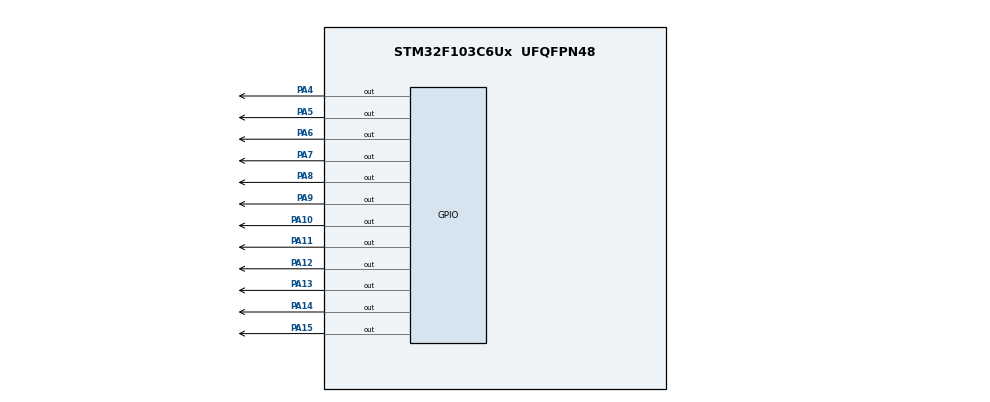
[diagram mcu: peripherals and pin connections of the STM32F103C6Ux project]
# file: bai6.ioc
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Mcu.Family=STM32F1
Mcu.Name=STM32F103C6Ux
Mcu.Package=UFQFPN48
NVIC.PriorityGroup=NVIC_PRIORITYGROUP_4
PA10.Signal=GPIO_Output
PA11.Signal=GPIO_Output
PA12.Signal=GPIO_Output
PA13.Signal=GPIO_Output
PA14.Signal=GPIO_Output
PA15.Signal=GPIO_Output
PA4.Signal=GPIO_Output
PA5.Signal=GPIO_Output
PA6.Signal=GPIO_Output
PA7.Signal=GPIO_Output
PA8.Signal=GPIO_Output
PA9.Signal=GPIO_Output
ProjectManager.HeapSize=0x200
ProjectManager.StackSize=0x400
ProjectManager.TargetToolchain=STM32CubeIDE
RCC.APB1Freq_Value=8000000
RCC.APB2Freq_Value=8000000
VP_SYS_VS_ND.Mode=No_Debug
board=custom

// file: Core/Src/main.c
/* USER CODE BEGIN Header */
/**
  ******************************************************************************
  * @file           : main.c
  * @brief          : Main program body
  ******************************************************************************
  * @attention
  *
  * <h2><center>&copy; Copyright (c) 2024 STMicroelectronics.
  * All rights reserved.</center></h2>
  *
  * This software component is licensed by ST under BSD 3-Clause license,
  * the "License"; You may not use this file except in compliance with the
  * License. You may obtain a copy of the License at:
  *                        opensource.org/licenses/BSD-3-Clause
  *
  ******************************************************************************
  */
/* USER CODE END Header */
#include "main.h"

void SystemClock_Config(void);
static void MX_GPIO_Init(void);

int main(void)
{

  /* MCU Configuration--------------------------------------------------------*/

  /* Reset of all peripherals, Initializes the Flash interface and the Systick. */
  HAL_Init();

  /* Configure the system clock */
  SystemClock_Config();

  /* Initialize all configured peripherals */
  MX_GPIO_Init();

  /* Infinite loop */
  /* USER CODE BEGIN WHILE */
  void clearNumberOnClock(int num)
   {

 	  	  if(num == 0)
 	  	  {

 	  		      HAL_GPIO_WritePin(GPIOA, GPIO_PIN_4, GPIO_PIN_RESET);
 	  	  }
 	  	  if(num == 1)
 	  		  {

 	  		      HAL_GPIO_WritePin(GPIOA, GPIO_PIN_5, GPIO_PIN_RESET);
 	  		  }
 	  	  if(num == 2)
 	  		  {

 	  		      HAL_GPIO_WritePin(GPIOA, GPIO_PIN_6, GPIO_PIN_RESET);
 	  		  }
 	  	  if(num == 3)
 	  		  {

 	  		      HAL_GPIO_WritePin(GPIOA, GPIO_PIN_7, GPIO_PIN_RESET);
 	  		  }
 	  	  if(num == 4)
 	  		  {

 	  		      HAL_GPIO_WritePin(GPIOA, GPIO_PIN_8, GPIO_PIN_RESET);
 	  		  }
 	  	  if(num == 5)
 	  		  {

 	  		      HAL_GPIO_WritePin(GPIOA, GPIO_PIN_9, GPIO_PIN_RESET);
 	  		  }
 	  	  if(num == 6)
 	  		  {

 	  		      HAL_GPIO_WritePin(GPIOA, GPIO_PIN_10, GPIO_PIN_RESET);
 	  		  }
 	  	  if(num == 7)
 	  		  {

 	  		      HAL_GPIO_WritePin(GPIOA, GPIO_PIN_11, GPIO_PIN_RESET);
 	  		  }
 	  	  if(num == 8)
 	  		  {

 	  		      HAL_GPIO_WritePin(GPIOA, GPIO_PIN_12, GPIO_PIN_RESET);
 	  		  }
 	  	  if(num == 9)
 	  		  {

 	  		      HAL_GPIO_WritePin(GPIOA, GPIO_PIN_13, GPIO_PIN_RESET);
 	  		  }
 	  	  if(num == 10)
 	  		  {

 	  		      HAL_GPIO_WritePin(GPIOA, GPIO_PIN_14, GPIO_PIN_RESET);
 	  		  }
 	  	  if(num == 11)
 	  		  {

 	  		      HAL_GPIO_WritePin(GPIOA, GPIO_PIN_15, GPIO_PIN_RESET);
 	  		  }

 	    }
  void setNumberOnClock(int num)
    {

  	  	  if(num == 0)
  	  	  {
  	  		HAL_GPIO_WritePin(GPIOA, GPIO_PIN_4, GPIO_PIN_SET);

  	  	  }
  	  	  if(num == 1)
  	  		  {
  	  		 HAL_GPIO_WritePin(GPIOA, GPIO_PIN_5, GPIO_PIN_SET);

  	  		  }
  	  	  if(num == 2)
  	  		  {
  	  		  HAL_GPIO_WritePin(GPIOA, GPIO_PIN_6, GPIO_PIN_SET);

  	  		  }
  	  	  if(num == 3)
  	  		  {
  	  		HAL_GPIO_WritePin(GPIOA, GPIO_PIN_7, GPIO_PIN_SET);

  	  		  }
  	  	  if(num == 4)
  	  		  {
  	  		  HAL_GPIO_WritePin(GPIOA, GPIO_PIN_8, GPIO_PIN_SET);

  	  		  }
  	  	  if(num == 5)
  	  		  {
  	  		 HAL_GPIO_WritePin(GPIOA, GPIO_PIN_9, GPIO_PIN_SET);

  	  		  }
  	  	  if(num == 6)
  	  		  {
  	  		   HAL_GPIO_WritePin(GPIOA, GPIO_PIN_10, GPIO_PIN_SET);

  	  		  }
  	  	  if(num == 7)
  	  		  {
  	  		 HAL_GPIO_WritePin(GPIOA, GPIO_PIN_11, GPIO_PIN_SET);

  	  		  }
  	  	  if(num == 8)
  	  		  {
  	  		 HAL_GPIO_WritePin(GPIOA, GPIO_PIN_12, GPIO_PIN_SET);

  	  		  }
  	  	  if(num == 9)
  	  		  {
  	  		 HAL_GPIO_WritePin(GPIOA, GPIO_PIN_13, GPIO_PIN_SET);

  	  		  }
  	  	  if(num == 10)
  	  		  {
  	  		HAL_GPIO_WritePin(GPIOA, GPIO_PIN_14, GPIO_PIN_SET);

  	  		  }
  	  	  if(num == 11)
  	  		  {
  	  		  HAL_GPIO_WritePin(GPIOA, GPIO_PIN_15, GPIO_PIN_SET);

  	  		  }

  	    }
  void clearAllClock(void)
  {
      HAL_GPIO_WritePin(GPIOA, GPIO_PIN_4, GPIO_PIN_RESET);
      HAL_GPIO_WritePin(GPIOA, GPIO_PIN_5, GPIO_PIN_RESET);
      HAL_GPIO_WritePin(GPIOA, GPIO_PIN_6, GPIO_PIN_RESET);
      HAL_GPIO_WritePin(GPIOA, GPIO_PIN_7, GPIO_PIN_RESET);
      HAL_GPIO_WritePin(GPIOA, GPIO_PIN_8, GPIO_PIN_RESET);
      HAL_GPIO_WritePin(GPIOA, GPIO_PIN_9, GPIO_PIN_RESET);
      HAL_GPIO_WritePin(GPIOA, GPIO_PIN_10, GPIO_PIN_RESET);
      HAL_GPIO_WritePin(GPIOA, GPIO_PIN_11, GPIO_PIN_RESET);
      HAL_GPIO_WritePin(GPIOA, GPIO_PIN_12, GPIO_PIN_RESET);
      HAL_GPIO_WritePin(GPIOA, GPIO_PIN_13, GPIO_PIN_RESET);
      HAL_GPIO_WritePin(GPIOA, GPIO_PIN_14, GPIO_PIN_RESET);
      HAL_GPIO_WritePin(GPIOA, GPIO_PIN_15, GPIO_PIN_RESET);
  }

  int counter = 0;
  void test(int num)
         {
	  clearAllClock();

       	  	  if(num == 0)
       	  	  {
       	  		HAL_GPIO_WritePin(GPIOA, GPIO_PIN_4, GPIO_PIN_SET);

       	  	  }
       	  	  if(num == 1)
       	  		  {
       	  		 HAL_GPIO_WritePin(GPIOA, GPIO_PIN_5, GPIO_PIN_SET);

       	  		  }
       	  	  if(num == 2)
       	  		  {
       	  		  HAL_GPIO_WritePin(GPIOA, GPIO_PIN_6, GPIO_PIN_SET);

       	  		  }
       	  	  if(num == 3)
       	  		  {
       	  		HAL_GPIO_WritePin(GPIOA, GPIO_PIN_7, GPIO_PIN_SET);

       	  		  }
       	  	  if(num == 4)
       	  		  {
       	  		  HAL_GPIO_WritePin(GPIOA, GPIO_PIN_8, GPIO_PIN_SET);

       	  		  }
       	  	  if(num == 5)
       	  		  {
       	  		 HAL_GPIO_WritePin(GPIOA, GPIO_PIN_9, GPIO_PIN_SET);

       	  		  }
       	  	  if(num == 6)
       	  		  {
       	  		   HAL_GPIO_WritePin(GPIOA, GPIO_PIN_10, GPIO_PIN_SET);

       	  		  }
       	  	  if(num == 7)
       	  		  {
       	  		 HAL_GPIO_WritePin(GPIOA, GPIO_PIN_11, GPIO_PIN_SET);

       	  		  }
       	  	  if(num == 8)
       	  		  {
       	  		 HAL_GPIO_WritePin(GPIOA, GPIO_PIN_12, GPIO_PIN_SET);

       	  		  }
       	  	  if(num == 9)
       	  		  {
       	  		 HAL_GPIO_WritePin(GPIOA, GPIO_PIN_13, GPIO_PIN_SET);

       	  		  }
       	  	  if(num == 10)
       	  		  {
       	  		HAL_GPIO_WritePin(GPIOA, GPIO_PIN_14, GPIO_PIN_SET);

       	  		  }
       	  	  if(num == 11)
       	  		  {
       	  		  HAL_GPIO_WritePin(GPIOA, GPIO_PIN_15, GPIO_PIN_SET);

       	  		  }

         }
  while (1)
  {
	  if(counter >= 12)
	  {
		  counter = 0;
	  }
	  test(counter++);
	  HAL_Delay(1000);

    /* USER CODE END WHILE */

  }
}

void SystemClock_Config(void)
{
  RCC_OscInitTypeDef RCC_OscInitStruct = {0};
  RCC_ClkInitTypeDef RCC_ClkInitStruct = {0};

  /** Initializes the RCC Oscillators according to the specified parameters
  * in the RCC_OscInitTypeDef structure.
  */
  RCC_OscInitStruct.OscillatorType = RCC_OSCILLATORTYPE_HSI;
  RCC_OscInitStruct.HSIState = RCC_HSI_ON;
  RCC_OscInitStruct.HSICalibrationValue = RCC_HSICALIBRATION_DEFAULT;
  RCC_OscInitStruct.PLL.PLLState = RCC_PLL_NONE;
  if (HAL_RCC_OscConfig(&RCC_OscInitStruct) != HAL_OK)
  {
    Error_Handler();
  }
  /** Initializes the CPU, AHB and APB buses clocks
  */
  RCC_ClkInitStruct.ClockType = RCC_CLOCKTYPE_HCLK|RCC_CLOCKTYPE_SYSCLK
                              |RCC_CLOCKTYPE_PCLK1|RCC_CLOCKTYPE_PCLK2;
  RCC_ClkInitStruct.SYSCLKSource = RCC_SYSCLKSOURCE_HSI;
  RCC_ClkInitStruct.AHBCLKDivider = RCC_SYSCLK_DIV1;
  RCC_ClkInitStruct.APB1CLKDivider = RCC_HCLK_DIV1;
  RCC_ClkInitStruct.APB2CLKDivider = RCC_HCLK_DIV1;

  if (HAL_RCC_ClockConfig(&RCC_ClkInitStruct, FLASH_LATENCY_0) != HAL_OK)
  {
    Error_Handler();
  }
}

static void MX_GPIO_Init(void)
{
  GPIO_InitTypeDef GPIO_InitStruct = {0};

  /* GPIO Ports Clock Enable */
  __HAL_RCC_GPIOA_CLK_ENABLE();

  /*Configure GPIO pin Output Level */
  HAL_GPIO_WritePin(GPIOA, GPIO_PIN_4|GPIO_PIN_5|GPIO_PIN_6|GPIO_PIN_7
                          |GPIO_PIN_8|GPIO_PIN_9|GPIO_PIN_10|GPIO_PIN_11
                          |GPIO_PIN_12|GPIO_PIN_13|GPIO_PIN_14|GPIO_PIN_15, GPIO_PIN_RESET);

  /*Configure GPIO pins : PA4 PA5 PA6 PA7
                           PA8 PA9 PA10 PA11
                           PA12 PA13 PA14 PA15 */
  GPIO_InitStruct.Pin = GPIO_PIN_4|GPIO_PIN_5|GPIO_PIN_6|GPIO_PIN_7
                          |GPIO_PIN_8|GPIO_PIN_9|GPIO_PIN_10|GPIO_PIN_11
                          |GPIO_PIN_12|GPIO_PIN_13|GPIO_PIN_14|GPIO_PIN_15;
  GPIO_InitStruct.Mode = GPIO_MODE_OUTPUT_PP;
  GPIO_InitStruct.Pull = GPIO_NOPULL;
  GPIO_InitStruct.Speed = GPIO_SPEED_FREQ_LOW;
  HAL_GPIO_Init(GPIOA, &GPIO_InitStruct);

}

void Error_Handler(void)
{
  __disable_irq();
  while (1)
  {
  }
}

/************************ (C) COPYRIGHT STMicroelectronics *****END OF FILE****/
